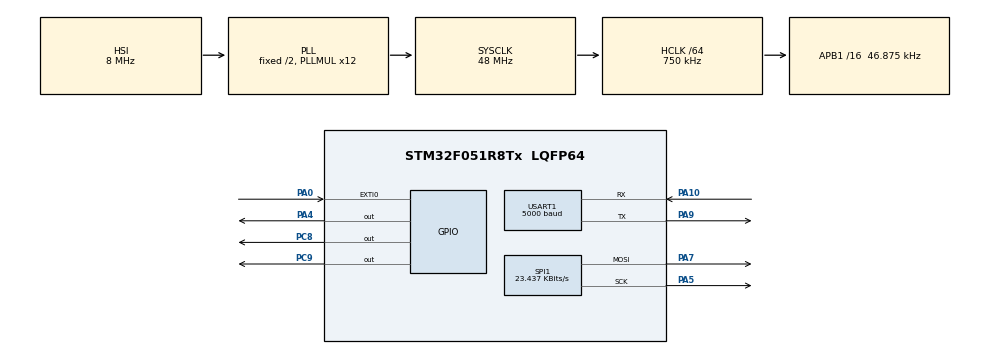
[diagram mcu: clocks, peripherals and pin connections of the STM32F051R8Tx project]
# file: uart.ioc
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Mcu.Family=STM32F0
Mcu.Name=STM32F051R8Tx
Mcu.Package=LQFP64
NVIC.TIM1_BRK_UP_TRG_COM_IRQn=true\:0\:0\:false\:false\:true\:true
NVIC.USART1_IRQn=true\:0\:0\:false\:false\:true\:true
PA0.GPIO_ModeDefaultEXTI=GPIO_MODE_IT_RISING
PA0.GPIO_PuPd=GPIO_NOPULL
PA0.Signal=GPXTI0
PA10.Mode=Asynchronous
PA10.Signal=USART1_RX
PA13.Mode=Serial_Wire
PA13.Signal=SYS_SWDIO
PA14.Mode=Serial_Wire
PA14.Signal=SYS_SWCLK
PA4.Signal=GPIO_Output
PA5.Mode=TX_Only_Simplex_Unidirect_Master
PA5.Signal=SPI1_SCK
PA7.Mode=TX_Only_Simplex_Unidirect_Master
PA7.Signal=SPI1_MOSI
PA9.Mode=Asynchronous
PA9.Signal=USART1_TX
PC8.GPIO_ModeDefaultOutputPP=GPIO_MODE_OUTPUT_PP
PC8.GPIO_PuPd=GPIO_NOPULL
PC8.GPIO_Speed=GPIO_SPEED_FREQ_LOW
PC8.PinState=GPIO_PIN_RESET
PC8.Signal=GPIO_Output
PC9.GPIO_ModeDefaultOutputPP=GPIO_MODE_OUTPUT_PP
PC9.GPIO_PuPd=GPIO_NOPULL
PC9.GPIO_Speed=GPIO_SPEED_FREQ_LOW
PC9.PinState=GPIO_PIN_RESET
PC9.Signal=GPIO_Output
ProjectManager.HeapSize=0x200
ProjectManager.StackSize=0x400
ProjectManager.TargetToolchain=SW4STM32
RCC.AHBCLKDivider=RCC_SYSCLK_DIV64
RCC.AHBFreq_Value=750000
RCC.APB1CLKDivider=RCC_HCLK_DIV16
RCC.APB1Freq_Value=46875
RCC.APB1TimFreq_Value=93750
RCC.HCLKFreq_Value=750000
RCC.PLLMUL=RCC_PLL_MUL12
RCC.SYSCLKFreq_VALUE=48000000
RCC.SYSCLKSource=RCC_SYSCLKSOURCE_PLLCLK
RCC.Usart1ClockSelection=RCC_USART1CLKSOURCE_SYSCLK
SPI1.CLKPhase=SPI_PHASE_2EDGE
SPI1.CLKPolarity=SPI_POLARITY_HIGH
SPI1.CalculateBaudRate=23.437 KBits/s
SPI1.DataSize=SPI_DATASIZE_8BIT
SPI1.Direction=SPI_DIRECTION_2LINES
SPI1.Mode=SPI_MODE_MASTER
SPI1.VirtualType=VM_MASTER
TIM1.Period=9
TIM1.Prescaler=9375
TIM1.TIM_MasterOutputTrigger=TIM_TRGO_UPDATE
USART1.BaudRate=5000
USART1.VirtualMode-Asynchronous=VM_ASYNC
VP_TIM1_VS_ClockSourceINT.Mode=Internal
board=STM32F0DISCOVERY

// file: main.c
/**
 ******************************************************************************
 * @file           : main.c
 * @brief          : Main program body
 ******************************************************************************
 ** This notice applies to any and all portions of this file
 * that are not between comment pairs USER CODE BEGIN and
 * USER CODE END. Other portions of this file, whether
 * inserted by the user or by software development tools
 * are owned by their respective copyright owners.
 *
 * COPYRIGHT(c) 2018 STMicroelectronics
 *
 * Redistribution and use in source and binary forms, with or without modification,
 * are permitted provided that the following conditions are met:
 *   1. Redistributions of source code must retain the above copyright notice,
 *      this list of conditions and the following disclaimer.
 *   2. Redistributions in binary form must reproduce the above copyright notice,
 *      this list of conditions and the following disclaimer in the documentation
 *      and/or other materials provided with the distribution.
 *   3. Neither the name of STMicroelectronics nor the names of its contributors
 *      may be used to endorse or promote products derived from this software
 *      without specific prior written permission.
 *
 * THIS SOFTWARE IS PROVIDED BY THE COPYRIGHT HOLDERS AND CONTRIBUTORS "AS IS"
 * AND ANY EXPRESS OR IMPLIED WARRANTIES, INCLUDING, BUT NOT LIMITED TO, THE
 * IMPLIED WARRANTIES OF MERCHANTABILITY AND FITNESS FOR A PARTICULAR PURPOSE ARE
 * DISCLAIMED. IN NO EVENT SHALL THE COPYRIGHT HOLDER OR CONTRIBUTORS BE LIABLE
 * FOR ANY DIRECT, INDIRECT, INCIDENTAL, SPECIAL, EXEMPLARY, OR CONSEQUENTIAL
 * DAMAGES (INCLUDING, BUT NOT LIMITED TO, PROCUREMENT OF SUBSTITUTE GOODS OR
 * SERVICES; LOSS OF USE, DATA, OR PROFITS; OR BUSINESS INTERRUPTION) HOWEVER
 * CAUSED AND ON ANY THEORY OF LIABILITY, WHETHER IN CONTRACT, STRICT LIABILITY,
 * OR TORT (INCLUDING NEGLIGENCE OR OTHERWISE) ARISING IN ANY WAY OUT OF THE USE
 * OF THIS SOFTWARE, EVEN IF ADVISED OF THE POSSIBILITY OF SUCH DAMAGE.
 *
 ******************************************************************************
 */
#include "main.h"
#include "stm32f0xx_hal.h"
#include "spi.h"
#include "tim.h"
#include "usart.h"
#include "gpio.h"

/* USER CODE BEGIN Includes */
#include <string.h>
#include <stdio.h>
#include <math.h>
/* USER CODE END Includes */

/* USER CODE BEGIN PV */
/* Private variables ---------------------------------------------------------*/
char buffer[100];
int len;
char result_buffer[100];
char pause_buffer[50];
char Rx_indx, Rx_data[2], Rx_Buffer[100], Transfer_cplt;
char cal_en[] = "\nTimer Mode Enabled.\n";
char time[] = "\nEnter Time: ";
char op[] = "Specify an operator(+,-,*,/,c); c to clear: ";
char comms[] = "\n*****Command List*****\nRun: run the timer\nReset: reset the timer to the set value\nSet: specify a new timer value";
char running[] = "\nRunning, type 'Pause' to pause :";
char timeout[] = "Timeout.";
volatile int tx_flag;
int valid_op = 0;

volatile int total = 0;
volatile int operand = 0;
int zero_error = 0;

volatile int tout = 0;
volatile int time_val = 0;
volatile int reset = 0;
volatile int set = 1;
volatile int run = 0;
volatile int pause = 0;
volatile int led_flag = 0;
volatile int led_counter = 0;
static TIM_HandleTypeDef s_TimerInstance = {
		.Instance = TIM1
};
/* USER CODE END PV */

void SystemClock_Config(void);

/* USER CODE BEGIN PFP */
/* Private function prototypes -----------------------------------------------*/

/* USER CODE END PFP */

int main(void)
{
	/* USER CODE BEGIN 1 */
	int operator = 0;
	/* USER CODE END 1 */

	/* MCU Configuration----------------------------------------------------------*/

	/* Reset of all peripherals, Initializes the Flash interface and the Systick. */
	HAL_Init();

	/* USER CODE BEGIN Init */
	HAL_TIM_Base_MspInit(&s_TimerInstance);
	/* USER CODE END Init */

	/* Configure the system clock */
	SystemClock_Config();

	/* Initialize all configured peripherals */
	MX_GPIO_Init();
	MX_USART1_UART_Init();
	MX_SPI1_Init();
	MX_TIM1_Init();
	/* USER CODE BEGIN 2 */
	HAL_TIM_Base_Start_IT(&s_TimerInstance);
	__HAL_UART_ENABLE_IT(&huart1, UART_IT_TC);
	__HAL_UART_ENABLE_IT(&huart1, UART_IT_RXNE);
	//while(HAL_UART_GetState(&huart1) != HAL_UART_STATE_READY);
	/* USER CODE END 2 */

	/* Infinite loop */
	/* USER CODE BEGIN WHILE */
	/*char a[] = {0x31,0x32};
	int k = 5;
	TransmitChar('0'+k);
	ResetPos();
	TransmitChar('0'+k+1); */
	HAL_Delay(15);
	tx_flag = 1;
	HAL_UART_Transmit_IT(&huart1, cal_en, sizeof(cal_en));
	while(tx_flag);
	while (1)
	{
		if(set == 1) {
			total = Time_wait();
			time_val = total;
			timer_pause();
			commands();
			//pause_wait();
		}
		else if(pause == 1) {
			commands();
		}
		else if(run == 1) {
			pause_wait();
		}
		else if(reset == 1) {
			timer_pause();
			commands();
		}
		else if(tout == 1) {
			led_flag = 1;
			led_counter = 0;
			print_timeout();
			commands();
		}
	}
}
/* USER CODE END WHILE */

/* USER CODE BEGIN 3 */
int Time_wait() {
	tx_flag = 1;
	Transfer_cplt = 0;
	HAL_UART_Transmit_IT(&huart1, time, sizeof(time));
	while(tx_flag);
	while(!Transfer_cplt);
	return atoi(Rx_Buffer);
}

void print_result() {
	tx_flag = 1;
	sprintf(result_buffer, "Result: %d\n", total);
	//HAL_UART_Transmit_IT(&huart1, itoa(total), sizeof(itoa(total)));
	HAL_UART_Transmit_IT(&huart1, result_buffer, sizeof(result_buffer));
	while(tx_flag);

}
void print_timeout() {
	tx_flag = 1;
	HAL_UART_Transmit_IT(&huart1, "\nTimeout. ", sizeof("\nTimeout. "));
	while(tx_flag);
}
void timer_pause() {
	ResetPos();
	TransmitNum(total);
	tx_flag = 1;
	sprintf(pause_buffer, "Timer paused. Timer Value: %d\n", total);
	HAL_UART_Transmit_IT(&huart1, pause_buffer, sizeof(pause_buffer));
	while(tx_flag);
}

void commands() {
	comm_list();
	comm_wait();
}
void comm_list() {
	tx_flag = 1;
	HAL_UART_Transmit_IT(&huart1, comms, sizeof(comms));
	while(tx_flag);
}

void comm_wait() {
	tx_flag = 1;
	Transfer_cplt = 0;
	HAL_UART_Transmit_IT(&huart1, "\nCommand: ", sizeof("\nCommand: "));
	while(tx_flag);
	while(!Transfer_cplt);
	comm_check(&Rx_Buffer);
}
void comm_check(char *buff) {
	if(strcmp(buff, "Run") == 0) {
		run = 1;
		reset = 0;
		pause = 0;
		set = 0;
		/*tx_flag = 1;
		HAL_UART_Transmit_IT(&huart1, running, sizeof(running));
		while(tx_flag); */
	}
	else if(strcmp(buff, "Reset") == 0) {
		reset = 1;
		run = 0;
		pause = 0;
		set = 0;
		tout = 0;
		total = time_val;
	}
	else if(strcmp(buff, "Set") == 0) {
		reset = 0;
		run = 0;
		pause = 0;
		set = 1;
		tout = 0;
	}
}
void pause_wait() {
	Transfer_cplt = 0;
	//while((!tout) & (!Transfer_cplt));
	tx_flag = 1;
	HAL_UART_Transmit_IT(&huart1, running, sizeof(running));
	while(tx_flag);
	//while(!Transfer_cplt);
	while((!tout) & (!Transfer_cplt));
	if(Transfer_cplt == 1) {
		pause_check(&Rx_Buffer);
	}
	else if(tout == 1) {
		reset = 0;
		run = 0;
		pause = 0;
		set = 0;
		Transfer_cplt = 1;
	}
}
void pause_check(char *buff) {
	if(strcmp(buff, "Pause") == 0) {
		reset = 0;
		run = 0;
		pause = 1;
		set = 0;
		timer_pause();
	}
}
void HAL_TIM_PeriodElapsedCallback(TIM_HandleTypeDef *htim) {

	if(run == 1 & !pause) {
		if(total == 0) {
			tout = 1;
			run = 0;
		}
		else {
			total = total - 1;
			ResetPos();
			//TransmitChar(('0'+total));
			TransmitNum(total);
		}
	}
		if(led_flag == 1) {
			led_counter++;
		}
		if(led_counter >= 4) {
			led_flag = 0;
		}
		if(led_flag == 1 & (led_counter < 4)) {
			HAL_GPIO_WritePin(GPIOC, GPIO_PIN_8,GPIO_PIN_SET);
			HAL_GPIO_WritePin(GPIOC, GPIO_PIN_9,GPIO_PIN_SET);
		}
		else {
			HAL_GPIO_WritePin(GPIOC, GPIO_PIN_8,GPIO_PIN_RESET);
			HAL_GPIO_WritePin(GPIOC, GPIO_PIN_9,GPIO_PIN_RESET);
		}
}

void TransmitChar(char ch) {
	HAL_GPIO_WritePin(GPIOA, GPIO_PIN_4, GPIO_PIN_RESET);
	HAL_SPI_Transmit(&hspi1, &ch, sizeof(ch), 10);
	HAL_GPIO_WritePin(GPIOA, GPIO_PIN_4, GPIO_PIN_SET);
	//ResetPos();
	//HAL_Delay(1);
	/* USER CODE END 3 */

}

void ResetPos() {
	char a = 0xFE;
	TransmitChar(a);
	a = 0x51;
	TransmitChar(a);
	a = 0;
	TransmitChar(a);
}

void TransmitNum(int val) {
	int digit = val;
	int count = 0;
	while(val > 9) {
		count = 0;
		while (digit > 9) {
			digit = digit/10;
			count++;
		}
		TransmitChar('0'+digit);
		for(int i = 0; i < count; i++) {
			digit = digit*10;
		}
		val = val - digit;
		digit = val;
	}
	TransmitChar('0'+val);
}

void SystemClock_Config(void)
{

	RCC_OscInitTypeDef RCC_OscInitStruct;
	RCC_ClkInitTypeDef RCC_ClkInitStruct;
	RCC_PeriphCLKInitTypeDef PeriphClkInit;

	/**Initializes the CPU, AHB and APB busses clocks
	 */
	RCC_OscInitStruct.OscillatorType = RCC_OSCILLATORTYPE_HSI;
	RCC_OscInitStruct.HSIState = RCC_HSI_ON;
	RCC_OscInitStruct.HSICalibrationValue = 16;
	RCC_OscInitStruct.PLL.PLLState = RCC_PLL_ON;
	RCC_OscInitStruct.PLL.PLLSource = RCC_PLLSOURCE_HSI;
	RCC_OscInitStruct.PLL.PLLMUL = RCC_PLL_MUL12;
	RCC_OscInitStruct.PLL.PREDIV = RCC_PREDIV_DIV1;
	if (HAL_RCC_OscConfig(&RCC_OscInitStruct) != HAL_OK)
	{
		_Error_Handler(__FILE__, __LINE__);
	}

	/**Initializes the CPU, AHB and APB busses clocks
	 */
	RCC_ClkInitStruct.ClockType = RCC_CLOCKTYPE_HCLK|RCC_CLOCKTYPE_SYSCLK
			|RCC_CLOCKTYPE_PCLK1;
	RCC_ClkInitStruct.SYSCLKSource = RCC_SYSCLKSOURCE_PLLCLK;
	RCC_ClkInitStruct.AHBCLKDivider = RCC_SYSCLK_DIV64;
	RCC_ClkInitStruct.APB1CLKDivider = RCC_HCLK_DIV16;

	if (HAL_RCC_ClockConfig(&RCC_ClkInitStruct, FLASH_LATENCY_0) != HAL_OK)
	{
		_Error_Handler(__FILE__, __LINE__);
	}

	PeriphClkInit.PeriphClockSelection = RCC_PERIPHCLK_USART1;
	PeriphClkInit.Usart1ClockSelection = RCC_USART1CLKSOURCE_SYSCLK;
	if (HAL_RCCEx_PeriphCLKConfig(&PeriphClkInit) != HAL_OK)
	{
		_Error_Handler(__FILE__, __LINE__);
	}

	/**Configure the Systick interrupt time
	 */
	HAL_SYSTICK_Config(HAL_RCC_GetHCLKFreq()/1000);

	/**Configure the Systick
	 */
	HAL_SYSTICK_CLKSourceConfig(SYSTICK_CLKSOURCE_HCLK);

	/* SysTick_IRQn interrupt configuration */
	HAL_NVIC_SetPriority(SysTick_IRQn, 0, 0);
}

/* USER CODE BEGIN 4 */

//Interrupt callback routine

/* USER CODE END 4 */

void _Error_Handler(char *file, int line)
{
	while(1)
	{
	}
}

/************************ (C) COPYRIGHT STMicroelectronics *****END OF FILE****/
